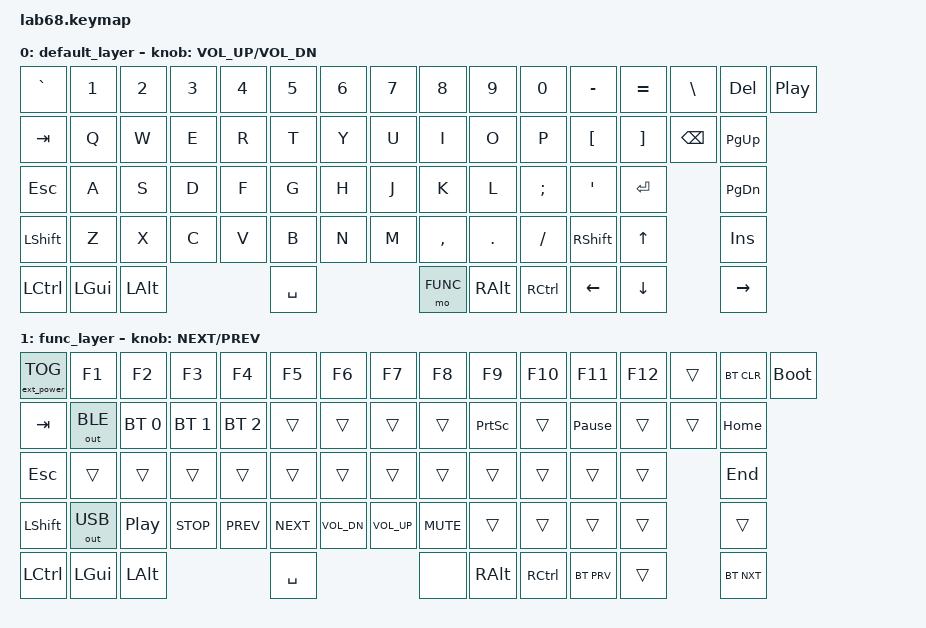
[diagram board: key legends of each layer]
/*
 * Copyright (c) 2020 The ZMK Contributors
 *
 * SPDX-License-Identifier: MIT
 */

#include <behaviors.dtsi>
#include <dt-bindings/zmk/bt.h>
#include <dt-bindings/zmk/keys.h>
#include <dt-bindings/zmk/outputs.h>
#include <dt-bindings/zmk/ext_power.h>

#define DEFAULT 0
#define FUNC 1

/ {
    sensors {
        compatible = "zmk,keymap-sensors";
        sensors = <&encoder>;
        triggers-per-rotation = <20>;
    };

    keymap {
        compatible = "zmk,keymap";

        default_layer {
            bindings = <
&kp GRAVE  &kp N1   &kp N2   &kp N3 &kp N4 &kp N5    &kp N6 &kp N7 &kp N8    &kp N9   &kp N0    &kp MINUS  &kp EQUAL &kp BSLH &kp DEL  &kp C_PP
&kp TAB    &kp Q    &kp W    &kp E  &kp R  &kp T     &kp Y  &kp U  &kp I     &kp O    &kp P     &kp LBKT   &kp RBKT  &kp BSPC &kp PG_UP
&kp ESC    &kp A    &kp S    &kp D  &kp F  &kp G     &kp H  &kp J  &kp K     &kp L    &kp SEMI  &kp SQT    &kp RET            &kp PG_DN
&kp LSHIFT &kp Z    &kp X    &kp C  &kp V  &kp B     &kp N  &kp M  &kp COMMA &kp DOT  &kp FSLH  &kp RSHIFT &kp UP             &kp INSERT
&kp LCTRL  &kp LGUI &kp LALT               &kp SPACE               &mo FUNC  &kp RALT &kp RCTRL &kp LEFT   &kp DOWN           &kp RIGHT
            >;
            sensor-bindings = <&inc_dec_kp C_VOL_UP C_VOL_DN>;
        };

        func_layer {
            bindings = <
&ext_power EP_TOG &kp F1       &kp F2       &kp F3       &kp F4       &kp F5     &kp F6       &kp F7       &kp F8     &kp F9    &kp F10   &kp F11         &kp F12 &trans &bt BT_CLR &bootloader
&kp TAB           &out OUT_BLE &bt BT_SEL 0 &bt BT_SEL 1 &bt BT_SEL 2 &trans     &trans       &trans       &trans     &kp PSCRN &trans    &kp PAUSE_BREAK &trans  &trans &kp HOME
&kp ESC           &trans       &trans       &trans       &trans       &trans     &trans       &trans       &trans     &trans    &trans    &trans                  &trans &kp END
&kp LSHIFT        &out OUT_USB &kp C_PP     &kp C_STOP   &kp C_PREV   &kp C_NEXT &kp C_VOL_DN &kp C_VOL_UP &kp C_MUTE &trans    &trans    &trans                  &trans &trans
&kp LCTRL         &kp LGUI     &kp LALT                               &kp SPACE                            &none      &kp RALT  &kp RCTRL &bt BT_PRV              &trans &bt BT_NXT
            >;
            sensor-bindings = <&inc_dec_kp C_NEXT C_PREV>;
        };
    };
};
